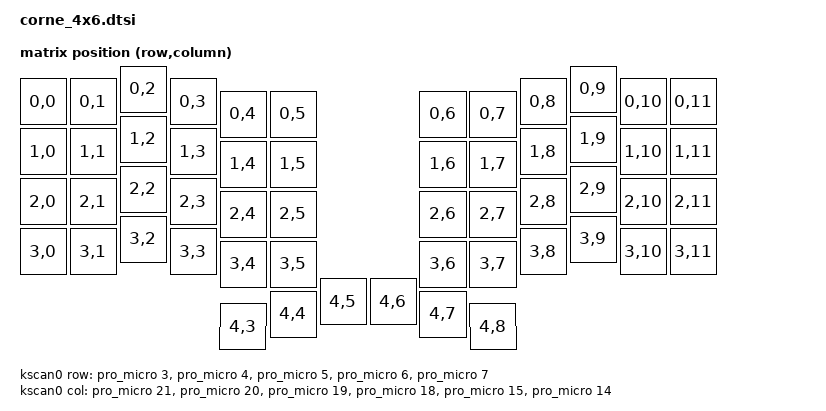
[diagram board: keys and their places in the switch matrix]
#include <dt-bindings/zmk/matrix_transform.h>

/ {
    chosen {
        zmk,kscan = &kscan0;
        zmk,matrix-transform = &default_transform;
	zmk,physical-layout = &physical_layout0;
    };

    default_transform: keymap_transform_0 {
        compatible = "zmk,matrix-transform";
        columns = <12>; // 6 cols left + 6 cols right
        rows = <5>;     // 4 finger rows + 1 thumb row
        
        map = <
            RC(0,0) RC(0,1) RC(0,2) RC(0,3) RC(0,4) RC(0,5)      RC(0,6) RC(0,7) RC(0,8) RC(0,9) RC(0,10) RC(0,11)
            RC(1,0) RC(1,1) RC(1,2) RC(1,3) RC(1,4) RC(1,5)      RC(1,6) RC(1,7) RC(1,8) RC(1,9) RC(1,10) RC(1,11)
            RC(2,0) RC(2,1) RC(2,2) RC(2,3) RC(2,4) RC(2,5)      RC(2,6) RC(2,7) RC(2,8) RC(2,9) RC(2,10) RC(2,11)
            RC(3,0) RC(3,1) RC(3,2) RC(3,3) RC(3,4) RC(3,5)      RC(3,6) RC(3,7) RC(3,8) RC(3,9) RC(3,10) RC(3,11)
                                    RC(4,3) RC(4,4) RC(4,5)      RC(4,6) RC(4,7) RC(4,8)
        >;
    };

    kscan0: kscan_0 {
        compatible = "zmk,kscan-gpio-matrix";
        diode-direction = "col2row";
        wakeup-source;

        row-gpios
            = <&pro_micro 3 (GPIO_ACTIVE_HIGH | GPIO_PULL_DOWN)>
            , <&pro_micro 4 (GPIO_ACTIVE_HIGH | GPIO_PULL_DOWN)>
            , <&pro_micro 5 (GPIO_ACTIVE_HIGH | GPIO_PULL_DOWN)>
            , <&pro_micro 6 (GPIO_ACTIVE_HIGH | GPIO_PULL_DOWN)>
            , <&pro_micro 7 (GPIO_ACTIVE_HIGH | GPIO_PULL_DOWN)>;

        col-gpios
            = <&pro_micro 21 GPIO_ACTIVE_HIGH>
            , <&pro_micro 20 GPIO_ACTIVE_HIGH>
            , <&pro_micro 19 GPIO_ACTIVE_HIGH>
            , <&pro_micro 18 GPIO_ACTIVE_HIGH>
            , <&pro_micro 15 GPIO_ACTIVE_HIGH>
            , <&pro_micro 14 GPIO_ACTIVE_HIGH>;
    };
    physical_layout0: physical_layout_0 {
    compatible = "zmk,physical-layout";
    display-name = "Corne 4x6 Custom";

    // Each key: width, height, x, y, rotation, rx, ry
    keys =
        // LEFT HALF - Row 0 (Numbers)
        < &key_physical_attrs 100 100    0  25 0 0 0 >
        , < &key_physical_attrs 100 100  100  25 0 0 0 >
        , < &key_physical_attrs 100 100  200   0 0 0 0 >
        , < &key_physical_attrs 100 100  300  25 0 0 0 >
        , < &key_physical_attrs 100 100  400  50 0 0 0 >
        , < &key_physical_attrs 100 100  500  50 0 0 0 >

        // RIGHT HALF - Row 0 (Numbers)
        , < &key_physical_attrs 100 100  800  50 0 0 0 >
        , < &key_physical_attrs 100 100  900  50 0 0 0 >
        , < &key_physical_attrs 100 100 1000  25 0 0 0 >
        , < &key_physical_attrs 100 100 1100   0 0 0 0 >
        , < &key_physical_attrs 100 100 1200  25 0 0 0 >
        , < &key_physical_attrs 100 100 1300  25 0 0 0 >

        // LEFT HALF - Row 1 (Top Alpha)
        , < &key_physical_attrs 100 100    0 125 0 0 0 >
        , < &key_physical_attrs 100 100  100 125 0 0 0 >
        , < &key_physical_attrs 100 100  200 100 0 0 0 >
        , < &key_physical_attrs 100 100  300 125 0 0 0 >
        , < &key_physical_attrs 100 100  400 150 0 0 0 >
        , < &key_physical_attrs 100 100  500 150 0 0 0 >

        // RIGHT HALF - Row 1 (Top Alpha)
        , < &key_physical_attrs 100 100  800 150 0 0 0 >
        , < &key_physical_attrs 100 100  900 150 0 0 0 >
        , < &key_physical_attrs 100 100 1000 125 0 0 0 >
        , < &key_physical_attrs 100 100 1100 100 0 0 0 >
        , < &key_physical_attrs 100 100 1200 125 0 0 0 >
        , < &key_physical_attrs 100 100 1300 125 0 0 0 >

        // LEFT HALF - Row 2 (Home Row)
        , < &key_physical_attrs 100 100    0 225 0 0 0 >
        , < &key_physical_attrs 100 100  100 225 0 0 0 >
        , < &key_physical_attrs 100 100  200 200 0 0 0 >
        , < &key_physical_attrs 100 100  300 225 0 0 0 >
        , < &key_physical_attrs 100 100  400 250 0 0 0 >
        , < &key_physical_attrs 100 100  500 250 0 0 0 >

        // RIGHT HALF - Row 2 (Home Row)
        , < &key_physical_attrs 100 100  800 250 0 0 0 >
        , < &key_physical_attrs 100 100  900 250 0 0 0 >
        , < &key_physical_attrs 100 100 1000 225 0 0 0 >
        , < &key_physical_attrs 100 100 1100 200 0 0 0 >
        , < &key_physical_attrs 100 100 1200 225 0 0 0 >
        , < &key_physical_attrs 100 100 1300 225 0 0 0 >

        // LEFT HALF - Row 3 (Bottom Alpha)
        , < &key_physical_attrs 100 100    0 325 0 0 0 >
        , < &key_physical_attrs 100 100  100 325 0 0 0 >
        , < &key_physical_attrs 100 100  200 300 0 0 0 >
        , < &key_physical_attrs 100 100  300 325 0 0 0 >
        , < &key_physical_attrs 100 100  400 350 0 0 0 >
        , < &key_physical_attrs 100 100  500 350 0 0 0 >

        // RIGHT HALF - Row 3 (Bottom Alpha)
        , < &key_physical_attrs 100 100  800 350 0 0 0 >
        , < &key_physical_attrs 100 100  900 350 0 0 0 >
        , < &key_physical_attrs 100 100 1000 325 0 0 0 >
        , < &key_physical_attrs 100 100 1100 300 0 0 0 >
        , < &key_physical_attrs 100 100 1200 325 0 0 0 >
        , < &key_physical_attrs 100 100 1300 325 0 0 0 >

        // LEFT HALF - Thumb Cluster (Angled slightly)
        , < &key_physical_attrs 100 100  400 475 15 450 525 >
        , < &key_physical_attrs 100 100  500 450 0 0 0 >
        , < &key_physical_attrs 100 100  600 425 0 0 0 >

        // RIGHT HALF - Thumb Cluster (Angled slightly)
        , < &key_physical_attrs 100 100  700 425 0 0 0 >
        , < &key_physical_attrs 100 100  800 450 0 0 0 >
        , < &key_physical_attrs 100 100  900 475 -15 850 525 >
        ;
    };
};
